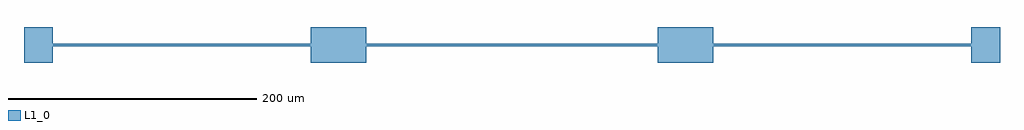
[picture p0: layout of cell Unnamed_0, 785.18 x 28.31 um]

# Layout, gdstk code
import gdstk
lib = gdstk.Library(unit=1e-6, precision=1e-09)
def R(c, l, rs):  # rectangles x0, y0, x1, y1
    for r in rs: c.add(gdstk.rectangle(r[:2], r[2:], *l))
L1_0 = (1, 0)

straight_gdsfactorypcom_ = lib.new_cell('straight_gdsfactorypcom_be130fd6')
R(straight_gdsfactorypcom_, L1_0, [(0,-14.155,23,14.155)])

unnamed_1 = lib.new_cell('Unnamed_1')
unnamed_1.add(gdstk.Reference(straight_gdsfactorypcom_, (0,0)))

c_straight_gdsfactorypcom_ = lib.new_cell('straight_gdsfactorypcom_f2148ad8')
R(c_straight_gdsfactorypcom_, L1_0, [(0,-0.875,207.6,0.875)])

unnamed_3 = lib.new_cell('Unnamed_3')
unnamed_3.add(gdstk.Reference(c_straight_gdsfactorypcom_, (23,0)))

c_straight_gdsfactorypcom__ = lib.new_cell('straight_gdsfactorypcom_6bd15272')
R(c_straight_gdsfactorypcom__, L1_0, [(0,-14.155,44.58,14.155)])

unnamed_5 = lib.new_cell('Unnamed_5')
unnamed_5.add(gdstk.Reference(c_straight_gdsfactorypcom__, (230.6,0)))

c_straight_gdsfactorypcom___ = lib.new_cell('straight_gdsfactorypcom_8b9fdf2b')
R(c_straight_gdsfactorypcom___, L1_0, [(0,-0.875,234.82,0.875)])

unnamed_7 = lib.new_cell('Unnamed_7')
unnamed_7.add(gdstk.Reference(c_straight_gdsfactorypcom___, (275.18,0)))

unnamed_9 = lib.new_cell('Unnamed_9')
unnamed_9.add(gdstk.Reference(c_straight_gdsfactorypcom__, (510,0)))

unnamed_10 = lib.new_cell('Unnamed_10')
unnamed_10.add(gdstk.Reference(c_straight_gdsfactorypcom_, (554.58,0)))

unnamed_11 = lib.new_cell('Unnamed_11')
unnamed_11.add(gdstk.Reference(straight_gdsfactorypcom_, (762.18,0)))

unnamed_0 = lib.new_cell('Unnamed_0')
unnamed_0.add(gdstk.Reference(unnamed_1, (0,0)))
unnamed_0.add(gdstk.Reference(unnamed_3, (0,0)))
unnamed_0.add(gdstk.Reference(unnamed_5, (0,0)))
unnamed_0.add(gdstk.Reference(unnamed_7, (0,0)))
unnamed_0.add(gdstk.Reference(unnamed_9, (0,0)))
unnamed_0.add(gdstk.Reference(unnamed_10, (0,0)))
unnamed_0.add(gdstk.Reference(unnamed_11, (0,0)))

lib.write_gds('Unnamed_0.gds')
